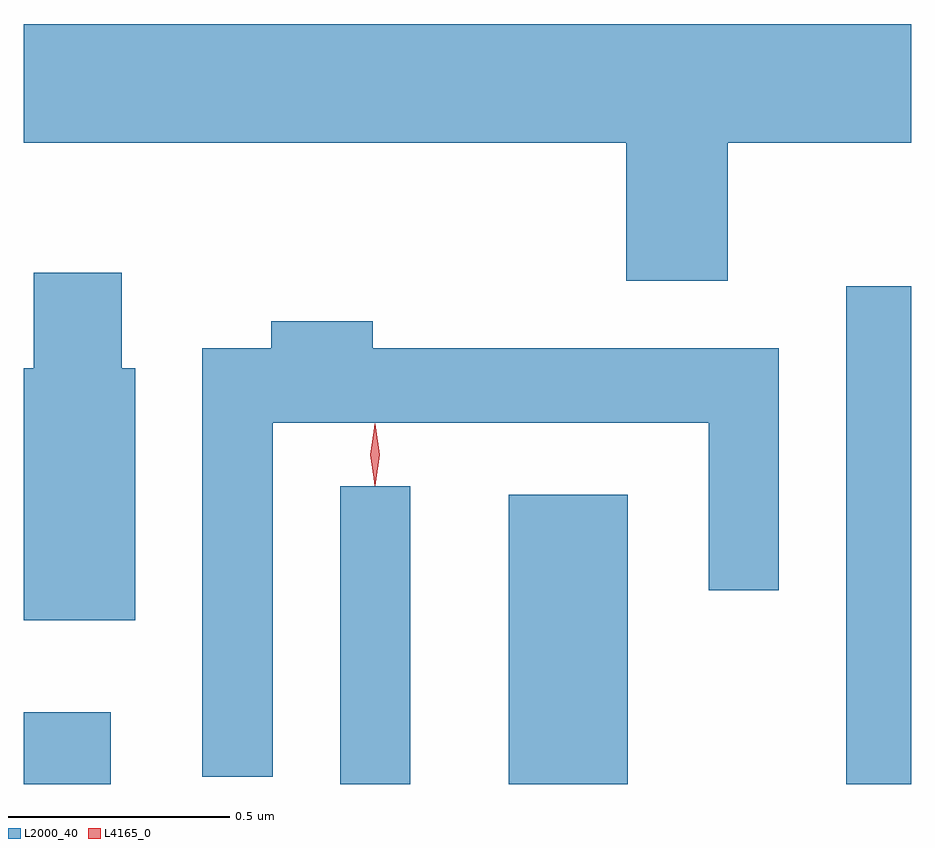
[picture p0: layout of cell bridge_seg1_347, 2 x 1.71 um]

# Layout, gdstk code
import gdstk
lib = gdstk.Library(unit=1e-6, precision=1e-09)
def R(c, l, rs):  # rectangles x0, y0, x1, y1
    for r in rs: c.add(gdstk.rectangle(r[:2], r[2:], *l))
def P(c, l, *ps):  # polygons
    for p in ps: c.add(gdstk.Polygon(p, *l))
L2000_40 = (2000, 40)
L4165_0 = (4165, 0)

bridge_seg1_347 = lib.new_cell('bridge_seg1_347')
R(bridge_seg1_347, L2000_40, [(904.583,880.372,904.779,880.534), (905.296,880.372,905.454,881.043), (905.676,880.372,905.944,881.024), (906.436,880.372,906.583,881.493)])
P(bridge_seg1_347, L2000_40, [(906.169,881.816),(906.583,881.816),(906.583,882.084),(904.583,882.084),(904.583,881.816),(905.941,881.816),(905.941,881.506),(906.169,881.506)],
  [(904.834,881.309),(904.804,881.309),(904.804,881.524),(904.606,881.524),(904.606,881.309),(904.583,881.309),(904.583,880.741),(904.834,880.741)],
  [(905.144,881.186),(906.126,881.186),(906.126,880.808),(906.284,880.808),(906.284,881.354),(905.369,881.354),(905.369,881.414),(905.141,881.414),(905.141,881.354),(904.986,881.354),(904.986,880.388),(905.144,880.388)])
P(bridge_seg1_347, L4165_0, [(905.374,881.047),(905.364,881.114),(905.374,881.18),(905.374,881.18),(905.375,881.18),(905.384,881.114),(905.375,881.047),(905.375,881.047)],
  [(905.374,881.044),(905.365,881.114),(905.374,881.183),(905.375,881.183),(905.375,881.183),(905.385,881.114),(905.375,881.044),(905.375,881.044)])

lib.write_gds('bridge_seg1_347.gds')
